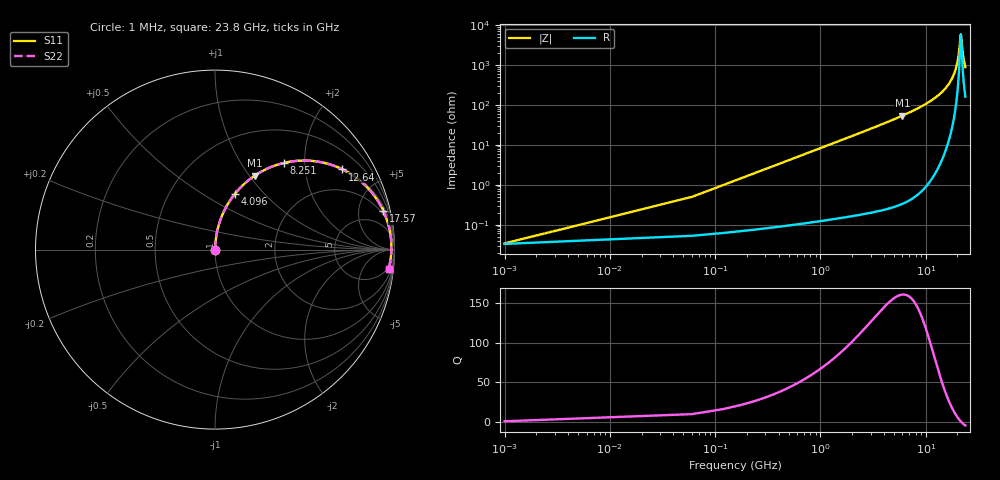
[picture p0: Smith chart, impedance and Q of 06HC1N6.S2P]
! Coilcraft 0603HC-1N6 Chip Inductor
! 03 June 2002
# MHZ S MA R 50
!Freq  MagS11  AngS11  MagS21  AngS21  MagS12  AngS12  MagS22  AngS22
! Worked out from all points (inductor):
!   402 points, 1 MHz to 23.8 GHz, reference 50 ohm
!   read as one part in series: L = 1.3 nH near 119.7 MHz
!   highest Q = 161 at 5.995 GHz (marker M1), where L = 1.41 nH
!   self-resonance near 21.55 GHz
!   S11 on the Smith chart (normalised r, x): 1 MHz: 1.00, +0.00; 4.096 GHz: 1.00, +0.69; 8.251 GHz: 1.01, +1.58; 12.64 GHz: 1.04, +3.15; 17.57 GHz: 1.46, +8.54; 23.8 GHz: 4, -17
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1  0.000339 13.9  0.9997 -0.0  0.9997 -0.0  0.000339 13.9
179.05  0.01463 86.5  0.9992 -0.8  0.9992 -0.8  0.01463 86.5
238.4  0.01947 86.7  0.9991 -1.1  0.9991 -1.1  0.01947 86.7
416.45  0.03399 86.5  0.9985 -1.9  0.9985 -1.9  0.03399 86.5
713.2  0.05817 85.6  0.9972 -3.3  0.9972 -3.3  0.05817 85.6
1188  0.09676 83.7  0.994 -5.6  0.994 -5.6  0.09676 83.7
1900.2  0.1543 80.5  0.9865 -8.9  0.9865 -8.9  0.1543 80.5
3977.45  0.3181 71.1  0.9458 -18.6  0.9458 -18.6  0.3181 71.1
4096.15  0.3272 70.5  0.9427 -19.1  0.9427 -19.1  0.3272 70.5
5995.35  0.4677 61.8  0.881 -27.9  0.881 -27.9  0.4677 61.8
7953.9  0.5992 52.8  0.7966 -36.8  0.7966 -36.8  0.5992 52.8
8250.65  0.6177 51.5  0.7822 -38.2  0.7822 -38.2  0.6177 51.5
11930.35  0.8103 35.2  0.5765 -54.1  0.5765 -54.1  0.8103 35.2
12642.55  0.839 32.2  0.5327 -57.0  0.5327 -57.0  0.839 32.2
15906.8  0.9347 19.1  0.3273 -69.1  0.3273 -69.1  0.9347 19.1
17568.6  0.9623 13.0  0.225 -73.9  0.225 -73.9  0.9623 13.0
19883.25  0.981 5.1  0.09089 -75.3  0.09089 -75.3  0.981 5.1
20595.45  0.9828 2.9  0.05291 -69.6  0.05291 -69.6  0.9828 2.9
21367  0.983 0.5  0.01941 -28.4  0.01941 -28.4  0.983 0.5
21545.05  0.9828 0.0  0.01723 -0.4  0.01723 -0.4  0.9828 0.0
22613.35  0.9799 -3.1  0.05689 67.7  0.05689 67.7  0.9799 -3.1
23800  0.9736 -6.3  0.1119 73.2  0.1119 73.2  0.9736 -6.3
